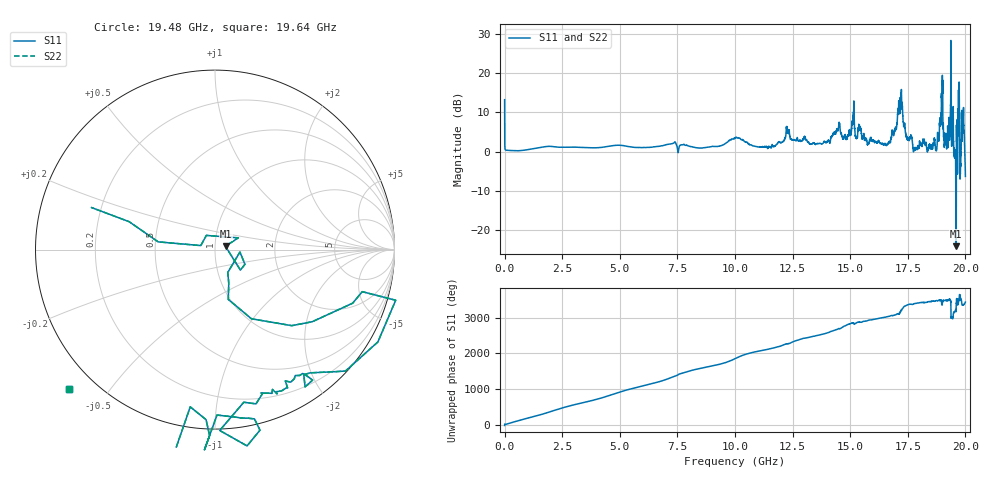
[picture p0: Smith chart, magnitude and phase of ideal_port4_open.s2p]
! Created with skrf (http://scikit-rf.org).
# GHz S RI R 50.0
!freq ReS11 ImS11 ReS21 ImS21 ReS12 ImS12 ReS22 ImS22
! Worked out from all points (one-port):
!   10001 points, 1 MHz to 20 GHz, reference 50 ohm
!   lowest |S11| = -24.1 dB at 19.6 GHz (marker M1), VSWR 1.13, Z = 56.3 + j2.2 ohm
!   |S11| at or under -10 dB: 19.58355 GHz to 19.606 GHz (22.45 MHz wide, 0.115 % of centre)
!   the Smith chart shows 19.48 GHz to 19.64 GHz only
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0.001  4.335 -1.437  0 0  0 0  4.335 -1.437
0.8709565  -1.003 0.287  0 0  0 0  -1.003 0.287
1.932903  1.162 -0.0767  0 0  0 0  1.162 -0.0767
3.334833  -0.3877 -1.059  0 0  0 0  -0.3877 -1.059
6.668667  -0.5758 1.008  0 0  0 0  -0.5758 1.008
7.314634  -0.0853 -1.27  0 0  0 0  -0.0853 -1.27
8.130593  0.0549 1.151  0 0  0 0  0.0549 1.151
9.444528  0.1017 -1.195  0 0  0 0  0.1017 -1.195
10.0005  0.8882 1.198  0 0  0 0  0.8882 1.198
10.46848  -1.323 0.0916  0 0  0 0  -1.323 0.0916
11.84841  1.152 0.5381  0 0  0 0  1.152 0.5381
12.57437  -1.406 -0.0333  0 0  0 0  -1.406 -0.0333
13.33433  0.8329 -0.9348  0 0  0 0  0.8329 -0.9348
14.52027  -2.351 0.2252  0 0  0 0  -2.351 0.2252
15.41823  2.068 -0.2104  0 0  0 0  2.068 -0.2104
16.66817  -1.208 0.485  0 0  0 0  -1.208 0.485
17.05215  -1.746 -2.253  0 0  0 0  -1.746 -2.253
17.26014  3.59 0.6093  0 0  0 0  3.59 0.6093
17.58812  -1.157 0.9394  0 0  0 0  -1.157 0.9394
18.86406  -0.5212 -1.485  0 0  0 0  -0.5212 -1.485
19.59802  0.0595 0.0194  0 0  0 0  0.0595 0.0194
20  -0.4571 -0.1554  0 0  0 0  -0.4571 -0.1554
